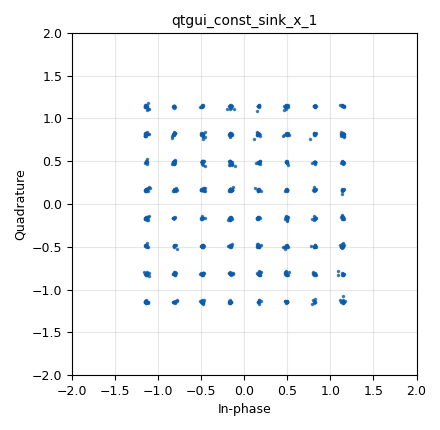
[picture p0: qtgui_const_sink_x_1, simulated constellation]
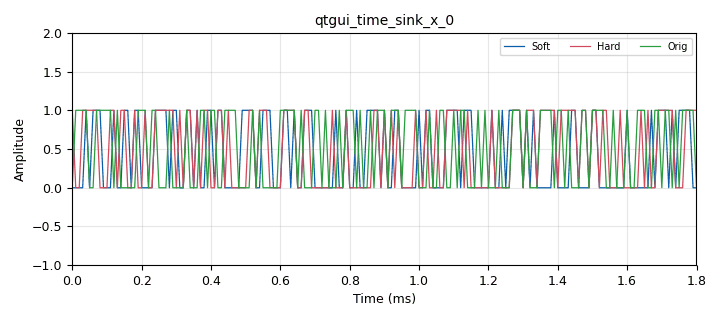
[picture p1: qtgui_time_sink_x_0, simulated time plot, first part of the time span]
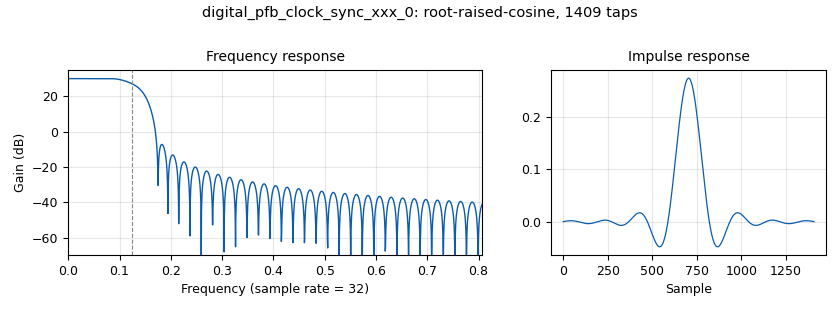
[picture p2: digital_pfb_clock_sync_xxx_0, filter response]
options:
  parameters:
    author: Tom Rondeau
    category: Custom
    description: Explore Soft Decoding of constellations. Selec the constellation from the available objects.
    generate_options: qt_gui
    id: pumpCompanion_experiment_qam64
    output_language: python
    title: Soft Decoder Example
  states: {}

blocks:
- name: arity
  id: variable
  parameters:
    value: '4'
  states: {}
- name: constel
  id: variable_constellation
  parameters:
    const_points: digital.psk_4()[0]
    dims: '1'
    normalization: digital.constellation.AMPLITUDE_NORMALIZATION
    precision: '8'
    rot_sym: '4'
    soft_dec_lut: '''auto'''
    sym_map: digital.psk_4()[1]
    type: calcdist
  states: {state: disabled}
- name: constel
  id: variable_constellation
  parameters:
    const_points: digital.psk_2()[0]
    dims: '1'
    normalization: digital.constellation.AMPLITUDE_NORMALIZATION
    precision: '8'
    rot_sym: '4'
    soft_dec_lut: '''auto'''
    sym_map: digital.psk_2()[1]
    type: calcdist
  states: {state: disabled}
- name: constel
  id: variable_constellation
  parameters:
    const_points: digital.psk_2()[0]
    dims: '1'
    normalization: digital.constellation.AMPLITUDE_NORMALIZATION
    precision: '8'
    rot_sym: '4'
    soft_dec_lut: digital.soft_dec_table_generator(digital.sd_psk_2, 8, 1)
    sym_map: digital.psk_2()[1]
    type: calcdist
  states: {state: disabled}
- name: constel
  id: variable_constellation
  parameters:
    const_points: digital.psk_4()[0]
    dims: '1'
    normalization: digital.constellation.AMPLITUDE_NORMALIZATION
    precision: '8'
    rot_sym: '4'
    soft_dec_lut: digital.soft_dec_table_generator(digital.sd_psk_4, 8, 1)
    sym_map: digital.psk_4()[1]
    type: calcdist
  states: {state: disabled}
- name: constel
  id: variable_constellation
  parameters:
    const_points: digital.qam_16()[0]
    dims: '1'
    normalization: digital.constellation.AMPLITUDE_NORMALIZATION
    precision: '8'
    rot_sym: '4'
    soft_dec_lut: digital.soft_dec_table_generator(digital.sd_qam_16, 8, 1)
    sym_map: digital.qam_16()[1]
    type: calcdist
  states: {state: disabled}
- name: constel
  id: variable_constellation
  parameters:
    const_points: digital.qam_16()[0]
    dims: '1'
    normalization: digital.constellation.AMPLITUDE_NORMALIZATION
    precision: '8'
    rot_sym: '4'
    soft_dec_lut: '''auto'''
    sym_map: digital.qam_16()[1]
    type: calcdist
  states: {state: disabled}
- name: constel
  id: variable_constellation
  parameters:
    const_points: '[ (-7-7j),(-5-7j),(-3-7j),(-1-7j),(1-7j),(3-7j),(5-7j),(7-7j),(-7-5j),(-5-5j),(-3-5j),(-1-5j),(1-5j),(3-5j),(5-5j),(7-5j),(-7-3j),(-5-3j),(-3-3j),(-1-3j),(1-3j),(3-3j),(5-3j),(7-3j),(-7-1j),(-5-1j),(-3-1j),(-1-1j),(1-1j),(3-1j),(5-1j),(7-1j),(-7+1j),(-5+1j),(-3+1j),(-1+1j),(1+1j),(3+1j),(5+1j),(7+1j),(-7+3j),(-5+3j),(-3+3j),(-1+3j),(1+3j),(3+3j),(5+3j),(7+3j),(-7+5j),(-5+5j),(-3+5j),(-1+5j),(1+5j),(3+5j),(5+5j),(7+5j),(-7+7j),(-5+7j),(-3+7j),(-1+7j),(1+7j),(3+7j),(5+7j),(7+7j) ]'
    dims: '1'
    normalization: digital.constellation.AMPLITUDE_NORMALIZATION
    precision: '8'
    rot_sym: '4'
    soft_dec_lut: '''auto'''
    sym_map: '[0,1,3,7,15,31,63,62,30,60,61,14,28,56,57,29,59,58,6,12,24,48,49,25,51,50,13,27,55,54,26,52,53,2,4,8,16,32,33,17,35,34,9,19,39,38,18,36,37,5,11,23,47,46,22,44,45,10,20,40,41,21,43,42]'
    type: calcdist
  states: {}
- name: delay
  id: variable_qtgui_range
  parameters:
    label: delay
    rangeType: int
    start: '29'
    step: '29'
    stop: 116*4*4*2
    value: '29'
    widget: slider
  states: {}
- name: nfilts
  id: variable
  parameters:
    value: '32'
  states: {}
- name: noise_volt
  id: variable_qtgui_range
  parameters:
    gui_hint: 0,0,1,1
    label: 'Channel: Noise Voltage'
    start: '0'
    step: '0.01'
    stop: '1'
    value: '0.0001'
    widget: slider
  states: {}
- name: rrc_taps
  id: variable
  parameters:
    value: firdes.root_raised_cosine(nfilts, nfilts, 1.0/float(sps), 0.35, 11*sps*nfilts)
  states: {}
- name: samp_rate
  id: variable
  parameters:
    value: '100000'
  states: {}
- name: sps
  id: variable
  parameters:
    value: '4'
  states: {}
- name: analog_random_source_x_0
  id: analog_random_source_x
  parameters:
    max: '256'
    min: '0'
    num_samps: '2000'
    repeat: 'True'
    type: byte
  states: {}
- name: blocks_char_to_float_0
  id: blocks_char_to_float
  parameters:
    scale: '1'
  states: {}
- name: blocks_char_to_float_0_0
  id: blocks_char_to_float
  parameters:
    scale: '1'
  states: {}
- name: blocks_char_to_float_0_0_0
  id: blocks_char_to_float
  parameters:
    scale: '1'
  states: {}
- name: blocks_delay_0
  id: blocks_delay
  parameters:
    delay: int(delay)
    type: byte
  states: {}
- name: blocks_throttle_0
  id: blocks_throttle
  parameters:
    samples_per_second: samp_rate
    type: byte
  states: {}
- name: blocks_unpack_k_bits_bb_0
  id: blocks_unpack_k_bits_bb
  parameters:
    k: constel.bits_per_symbol()
  states: {}
- name: blocks_unpack_k_bits_bb_0_0
  id: blocks_unpack_k_bits_bb
  parameters:
    k: '8'
  states: {}
- name: channels_channel_model_0
  id: channels_channel_model
  parameters:
    epsilon: '1.0'
    freq_offset: '0.0'
    noise_voltage: noise_volt
    seed: '0'
    taps: '1.0'
  states: {}
- name: digital_binary_slicer_fb_0
  id: digital_binary_slicer_fb
  parameters: {}
  states: {}
- name: digital_constellation_decoder_cb_0
  id: digital_constellation_decoder_cb
  parameters:
    constellation: constel
  states: {}
- name: digital_constellation_modulator_0
  id: digital_constellation_modulator
  parameters:
    constellation: constel
    differential: 'False'
    excess_bw: '0.35'
    samples_per_symbol: sps
  states: {}
- name: digital_constellation_soft_decoder_cf_0
  id: digital_constellation_soft_decoder_cf
  parameters:
    constellation: constel
  states: {}
- name: digital_map_bb_0_0
  id: digital_map_bb
  parameters:
    map: constel.pre_diff_code()
  states: {}
- name: digital_pfb_clock_sync_xxx_0
  id: digital_pfb_clock_sync_xxx
  parameters:
    filter_size: nfilts
    init_phase: nfilts/2
    loop_bw: 6.28/100.0
    max_dev: '1.5'
    osps: '1'
    sps: sps
    taps: rrc_taps
    type: ccf
  states: {}
- name: import_cmath
  id: import
  parameters:
    imports: import cmath
  states: {}
- name: import_math
  id: import
  parameters:
    imports: import math
  states: {}
- name: note_auto
  id: note
  parameters:
    note: auto-build LUT
  states: {}
- name: note_py
  id: note
  parameters:
    note: Python-generated LUT
  states: {}
- name: qtgui_const_sink_x_1
  id: qtgui_const_sink_x
  parameters:
    gui_hint: 1,0,1,1
    name: ''
    size: '1024'
    type: complex
  states: {}
- name: qtgui_time_sink_x_0
  id: qtgui_time_sink_x
  parameters:
    gui_hint: 1,1,1,1
    label1: Soft
    label2: Hard
    label3: Orig
    name: ''
    nconnections: '3'
    size: '500'
    srate: samp_rate
    type: float
    update_time: '0.05'
    ymax: '2'
  states: {}

connections:
- [analog_random_source_x_0, '0', blocks_throttle_0, '0']
- [blocks_char_to_float_0, '0', qtgui_time_sink_x_0, '1']
- [blocks_char_to_float_0_0, '0', qtgui_time_sink_x_0, '0']
- [blocks_char_to_float_0_0_0, '0', qtgui_time_sink_x_0, '2']
- [blocks_delay_0, '0', blocks_char_to_float_0_0_0, '0']
- [blocks_throttle_0, '0', blocks_unpack_k_bits_bb_0_0, '0']
- [blocks_throttle_0, '0', digital_constellation_modulator_0, '0']
- [blocks_unpack_k_bits_bb_0, '0', blocks_char_to_float_0, '0']
- [blocks_unpack_k_bits_bb_0_0, '0', blocks_delay_0, '0']
- [channels_channel_model_0, '0', digital_pfb_clock_sync_xxx_0, '0']
- [digital_binary_slicer_fb_0, '0', blocks_char_to_float_0_0, '0']
- [digital_constellation_decoder_cb_0, '0', digital_map_bb_0_0, '0']
- [digital_constellation_modulator_0, '0', channels_channel_model_0, '0']
- [digital_constellation_soft_decoder_cf_0, '0', digital_binary_slicer_fb_0, '0']
- [digital_map_bb_0_0, '0', blocks_unpack_k_bits_bb_0, '0']
- [digital_pfb_clock_sync_xxx_0, '0', digital_constellation_decoder_cb_0, '0']
- [digital_pfb_clock_sync_xxx_0, '0', digital_constellation_soft_decoder_cf_0, '0']
- [digital_pfb_clock_sync_xxx_0, '0', qtgui_const_sink_x_1, '0']

metadata:
  file_format: 1
  grc_version: 3.10.5.1
